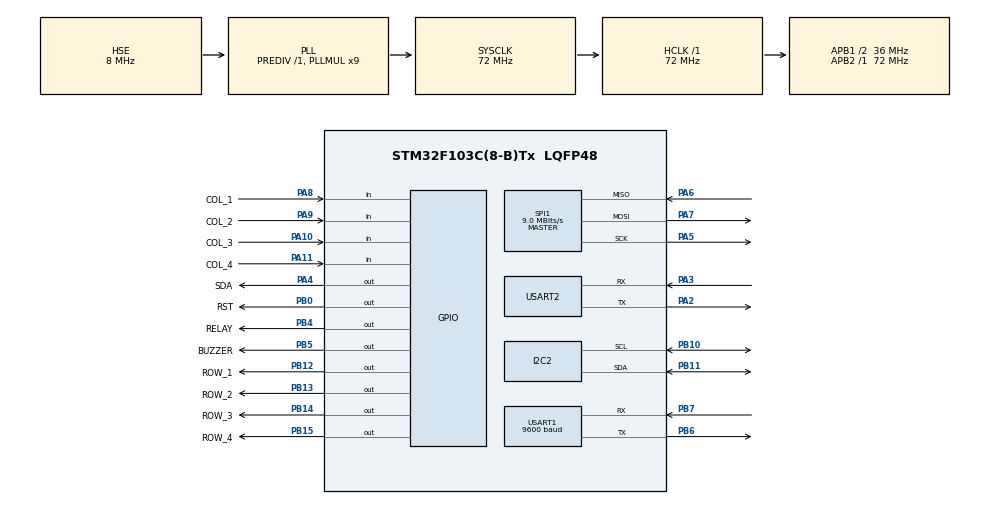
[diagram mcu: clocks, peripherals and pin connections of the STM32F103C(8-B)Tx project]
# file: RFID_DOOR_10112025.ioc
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Mcu.Family=STM32F1
Mcu.Name=STM32F103C(8-B)Tx
Mcu.Package=LQFP48
NVIC.PriorityGroup=NVIC_PRIORITYGROUP_4
PA10.GPIO_Label=COL_3
PA10.GPIO_PuPd=GPIO_PULLUP
PA10.Signal=GPIO_Input
PA11.GPIO_Label=COL_4
PA11.GPIO_PuPd=GPIO_PULLUP
PA11.Signal=GPIO_Input
PA13.Mode=Serial_Wire
PA13.Signal=SYS_JTMS-SWDIO
PA14.Mode=Serial_Wire
PA14.Signal=SYS_JTCK-SWCLK
PA2.Mode=Asynchronous
PA2.Signal=USART2_TX
PA3.Mode=Asynchronous
PA3.Signal=USART2_RX
PA4.GPIO_Label=SDA
PA4.Signal=GPIO_Output
PA5.Mode=Full_Duplex_Master
PA5.Signal=SPI1_SCK
PA6.Mode=Full_Duplex_Master
PA6.Signal=SPI1_MISO
PA7.Mode=Full_Duplex_Master
PA7.Signal=SPI1_MOSI
PA8.GPIO_Label=COL_1
PA8.GPIO_PuPd=GPIO_PULLUP
PA8.Signal=GPIO_Input
PA9.GPIO_Label=COL_2
PA9.GPIO_PuPd=GPIO_PULLUP
PA9.Signal=GPIO_Input
PB0.GPIO_Label=RST
PB0.Signal=GPIO_Output
PB10.Mode=I2C
PB10.Signal=I2C2_SCL
PB11.Mode=I2C
PB11.Signal=I2C2_SDA
PB12.GPIO_Label=ROW_1
PB12.Signal=GPIO_Output
PB13.GPIO_Label=ROW_2
PB13.Signal=GPIO_Output
PB14.GPIO_Label=ROW_3
PB14.Signal=GPIO_Output
PB15.GPIO_Label=ROW_4
PB15.Signal=GPIO_Output
PB4.GPIO_Label=RELAY
PB4.Signal=GPIO_Output
PB5.GPIO_Label=BUZZER
PB5.Signal=GPIO_Output
PB6.Mode=Asynchronous
PB6.Signal=USART1_TX
PB7.Mode=Asynchronous
PB7.Signal=USART1_RX
PD0-OSC_IN.Mode=HSE-External-Oscillator
PD0-OSC_IN.Signal=RCC_OSC_IN
PD1-OSC_OUT.Mode=HSE-External-Oscillator
PD1-OSC_OUT.Signal=RCC_OSC_OUT
ProjectManager.HeapSize=0x200
ProjectManager.StackSize=0x400
ProjectManager.TargetToolchain=STM32CubeIDE
RCC.AHBFreq_Value=72000000
RCC.APB1CLKDivider=RCC_HCLK_DIV2
RCC.APB1Freq_Value=36000000
RCC.APB1TimFreq_Value=72000000
RCC.APB2Freq_Value=72000000
RCC.APB2TimFreq_Value=72000000
RCC.HCLKFreq_Value=72000000
RCC.PLLMUL=RCC_PLL_MUL9
RCC.PLLSourceVirtual=RCC_PLLSOURCE_HSE
RCC.SYSCLKFreq_VALUE=72000000
RCC.SYSCLKSource=RCC_SYSCLKSOURCE_PLLCLK
RCC.USBFreq_Value=72000000
SPI1.BaudRatePrescaler=SPI_BAUDRATEPRESCALER_8
SPI1.CalculateBaudRate=9.0 MBits/s
SPI1.Direction=SPI_DIRECTION_2LINES
SPI1.Mode=SPI_MODE_MASTER
SPI1.VirtualType=VM_MASTER
USART1.BaudRate=9600
USART1.VirtualMode=VM_ASYNC
USART2.VirtualMode=VM_ASYNC
board=custom

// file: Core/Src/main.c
/* USER CODE BEGIN Header */
/**
  ******************************************************************************
  * @file           : main.c
  * @brief          : Main program body
  ******************************************************************************
  * @attention
  *
  * Copyright (c) 2025 STMicroelectronics.
  * All rights reserved.
  *
  * This software is licensed under terms that can be found in the LICENSE file
  * in the root directory of this software component.
  * If no LICENSE file comes with this software, it is provided AS-IS.
  *
  ******************************************************************************
  */
/* USER CODE END Header */
#include "main.h"

/* USER CODE BEGIN Includes */
#include "rc522.h"
#include "string.h"
#include "lcd.h"
#include "DFPlayer_Mini.h"
#include "keypad.h"
/* USER CODE END Includes */

/* USER CODE BEGIN PTD */
typedef enum {
    STATE_IDLE,                 // Trạng thái chờ, quét thẻ VÀ bàn phím
    STATE_ENTERING_PASSWORD,    // Trạng thái đang nhập mật khẩu
    STATE_CARD_ACCESS_GRANTED,  // Trạng thái thẻ đúng
    STATE_CARD_ACCESS_DENIED,   // Trạng thái thẻ sai
    STATE_PASS_ACCESS_GRANTED,  // Trạng thái mật khẩu đúng
    STATE_PASS_ACCESS_DENIED    // Trạng thái mật khẩu sai
} SystemState;
/* USER CODE END PTD */

/* USER CODE BEGIN PD */
#define CARD_ACCESS_DURATION    5000 // Thời gian mở cửa bằng thẻ: 5s
#define CARD_DENIED_DURATION    3000 // Thời gian báo lỗi thẻ: 3s
#define PASS_ACCESS_DURATION    4000 // Thời gian mở cửa bằng pass: 4s
#define PASS_DENIED_DURATION    3000 // Thời gian báo lỗi pass: 3s
#define PASSWORD_LENGTH         5    // Độ dài mật khẩu
/* USER CODE END PD */

I2C_HandleTypeDef hi2c2;

SPI_HandleTypeDef hspi1;

UART_HandleTypeDef huart1;
UART_HandleTypeDef huart2;

/* USER CODE BEGIN PV */
uint8_t status;
uint8_t str[MAX_LEN]; // Max_LEN = 16
uint8_t sNum[4];
uint8_t masterCardUID[4] = {4, 123, 253, 113};

volatile SystemState currentState = STATE_IDLE;
uint32_t actionTimer = 0;

const char correctPassword[PASSWORD_LENGTH + 1] = "12345"; // Mật khẩu đúng + ký tự null
char enteredPassword[PASSWORD_LENGTH + 1];
uint8_t passwordIndex = 0;
/* USER CODE END PV */

void SystemClock_Config(void);
static void MX_GPIO_Init(void);
static void MX_SPI1_Init(void);
static void MX_I2C2_Init(void);
static void MX_USART1_UART_Init(void);
static void MX_USART2_UART_Init(void);
/* USER CODE BEGIN PFP */
void display_welcome_screen(void);
void reset_password_entry(void);
/* USER CODE END PFP */

/* USER CODE BEGIN 0 */
void display_welcome_screen(void) {
    lcd_clear();
    lcd_put_cur(0, 0);
    lcd_send_string("Quet the hoac");
    lcd_put_cur(1, 0);
    lcd_send_string("nhap mat khau");
}

void reset_password_entry(void) {
    passwordIndex = 0;
    memset(enteredPassword, 0, sizeof(enteredPassword));
}
/* USER CODE END 0 */

int main(void)
{

  /* MCU Configuration--------------------------------------------------------*/

  /* Reset of all peripherals, Initializes the Flash interface and the Systick. */
  HAL_Init();

  /* Configure the system clock */
  SystemClock_Config();

  /* Initialize all configured peripherals */
  MX_GPIO_Init();
  MX_SPI1_Init();
  MX_I2C2_Init();
  MX_USART1_UART_Init();
  MX_USART2_UART_Init();
  /* USER CODE BEGIN 2 */
  MFRC522_Init();
  lcd_init();
  DF_Init(&huart1);

  HAL_Delay(200); // Chờ một chút để module sẵn sàng
  DF_SetVolume(25); // Đặt âm lượng (từ 0 đến 30)

  display_welcome_screen();
  /* USER CODE END 2 */

  /* Infinite loop */
  while (1)
  {

    /* USER CODE BEGIN 3 */
//	switch(currentState)
//	{
//		case STATE_IDLE_SCANNING:
//		{
//			// Chỉ quét thẻ khi hệ thống đang ở trạng thái chờ
//			if (MFRC522_Request(PICC_REQIDL, str) == MI_OK)
//			{
//				if (MFRC522_Anticoll(str) == MI_OK)
//				{
//					memcpy(sNum, str, 4);
//					if (memcmp(sNum, masterCardUID, 4) == 0)
//					{
//						// === THẺ ĐÚNG ===
//						// 1. Chuyển sang trạng thái Mở cửa
//						currentState = STATE_ACCESS_GRANTED;
//						// 2. Ghi lại mốc thời gian bắt đầu
//						actionTimer = HAL_GetTick();
//
//						// 3. Thực hiện hành động MỞ CỬA ngay lập tức
//						lcd_clear();
//						lcd_put_cur(0, 0);
//						lcd_send_string("The dung,");
//						lcd_put_cur(1, 2);
//						lcd_send_string("xin moi vao");
//						HAL_GPIO_WritePin(RELAY_GPIO_Port, RELAY_Pin, GPIO_PIN_SET); // Bật Relay
//					}
//					else
//					{
//						// === THẺ SAI ===
//						// 1. Chuyển sang trạng thái Báo lỗi
//						currentState = STATE_ACCESS_DENIED;
//						// 2. Ghi lại mốc thời gian bắt đầu
//						actionTimer = HAL_GetTick();
//
//						// 3. Hiển thị thông báo lỗi
//						lcd_clear();
//						lcd_put_cur(0, 4);
//						lcd_send_string("The sai!");
//					}
//				}
//			}
//			break;
//		}
//
//		case STATE_ACCESS_GRANTED:
//		{
//			// Liên tục kiểm tra xem đã đủ 3 giây chưa
//			if (HAL_GetTick() - actionTimer >= ACCESS_GRANTED_DURATION)
//			{
//				// Đã đủ 3 giây, thực hiện hành động ĐÓNG CỬA
//				HAL_GPIO_WritePin(RELAY_GPIO_Port, RELAY_Pin, GPIO_PIN_RESET); // Tắt Relay
//				display_welcome_screen(); // Hiển thị lại màn hình chờ
//				currentState = STATE_IDLE_SCANNING; // Quay về trạng thái chờ
//			}
//			break;
//		}
//
//		case STATE_ACCESS_DENIED:
//		{
//			// Liên tục kiểm tra xem đã đủ 2 giây hiển thị lỗi chưa
//			if (HAL_GetTick() - actionTimer >= ACCESS_DENIED_DURATION)
//			{
//				// Đã đủ thời gian, quay về trạng thái chờ
//				display_welcome_screen();
//				currentState = STATE_IDLE_SCANNING;
//			}
//			break;
//		}
//	} // end switch

//		switch(currentState)
//		{
//			case STATE_IDLE_SCANNING:
//			{
//				if (MFRC522_Request(PICC_REQIDL, str) == MI_OK)
//				{
//					if (MFRC522_Anticoll(str) == MI_OK)
//					{
//						memcpy(sNum, str, 4);
//						if (memcmp(sNum, masterCardUID, 4) == 0)
//						{
//							// === THẺ ĐÚNG ===
//							currentState = STATE_ACCESS_GRANTED;
//							actionTimer = HAL_GetTick();
//
//							lcd_clear();
//							lcd_put_cur(0, 0);
//							lcd_send_string("The dung,");
//							lcd_put_cur(1, 2);
//							lcd_send_string("xin moi vao");
//							HAL_GPIO_WritePin(RELAY_GPIO_Port, RELAY_Pin, GPIO_PIN_SET);
//							DF_Play(1); // <-- PHÁT FILE 0001.mp3
//						}
//						else
//						{
//							// === THẺ SAI ===
//							currentState = STATE_ACCESS_DENIED;
//							actionTimer = HAL_GetTick();
//
//							lcd_clear();
//							lcd_put_cur(0, 4);
//							lcd_send_string("The sai!");
//							DF_Play(2); // <-- PHÁT FILE 0002.mp3
//						}
//					}
//				}
//				break;
//			}
//
//			case STATE_ACCESS_GRANTED:
//			{
//				if (HAL_GetTick() - actionTimer >= ACCESS_GRANTED_DURATION)
//				{
//					HAL_GPIO_WritePin(RELAY_GPIO_Port, RELAY_Pin, GPIO_PIN_RESET);
//					display_welcome_screen();
//					currentState = STATE_IDLE_SCANNING;
//				}
//				break;
//			}
//
//			case STATE_ACCESS_DENIED:
//			{
//				if (HAL_GetTick() - actionTimer >= ACCESS_DENIED_DURATION)
//				{
//					display_welcome_screen();
//					currentState = STATE_IDLE_SCANNING;
//				}
//				break;
//			}
//		} // end switch
//
//  }

	  switch(currentState)
	  	{
	  		case STATE_IDLE:
	  		{
	  			// ---- Ưu tiên 1: Quét thẻ ----
	  			if (MFRC522_Request(PICC_REQIDL, str) == MI_OK)
	  			{
	  				if (MFRC522_Anticoll(str) == MI_OK)
	  				{
	  					// Kêu bíp báo hiệu nhận thẻ
	  					HAL_GPIO_WritePin(BUZZER_GPIO_Port, BUZZER_Pin, GPIO_PIN_SET); HAL_Delay(50);
	  					HAL_GPIO_WritePin(BUZZER_GPIO_Port, BUZZER_Pin, GPIO_PIN_RESET);

	  					memcpy(sNum, str, 4);
	  					if (memcmp(sNum, masterCardUID, 4) == 0)
	  					{
	  						currentState = STATE_CARD_ACCESS_GRANTED;
	  						actionTimer = HAL_GetTick();
	  						lcd_clear();
	  						lcd_put_cur(0, 0); lcd_send_string("The dung,");
	  						lcd_put_cur(1, 2); lcd_send_string("xin moi vao");
	  						HAL_GPIO_WritePin(RELAY_GPIO_Port, RELAY_Pin, GPIO_PIN_SET);
	  						DF_Play(1); // Phát âm thanh thẻ đúng
	  					}
	  					else
	  					{
	  						currentState = STATE_CARD_ACCESS_DENIED;
	  						actionTimer = HAL_GetTick();
	  						lcd_clear();
	  						lcd_put_cur(0, 4); lcd_send_string("The sai!");
	  						DF_Play(2); // Phát âm thanh thẻ sai
	  					}
	  				}
	  			}

	  			// ---- Ưu tiên 2: Quét bàn phím ----
	  			char key = Keypad_Get_Pressed_Key();
	  			if (key != '\0') // Nếu có phím được nhấn
	  			{
	  				// Kêu bíp báo hiệu nhấn phím
	  				HAL_GPIO_WritePin(BUZZER_GPIO_Port, BUZZER_Pin, GPIO_PIN_SET); HAL_Delay(50);
	  				HAL_GPIO_WritePin(BUZZER_GPIO_Port, BUZZER_Pin, GPIO_PIN_RESET);

	  				// Nếu là một chữ số thì bắt đầu nhập mật khẩu
	  				if (key >= '0' && key <= '9')
	  				{
	  					currentState = STATE_ENTERING_PASSWORD;
	  					reset_password_entry();
	  					enteredPassword[passwordIndex++] = key;

	  					lcd_clear();
	  					lcd_put_cur(0, 0); lcd_send_string("Mat khau la:");
	  					lcd_put_cur(1, 0); lcd_send_string("*");
	  				}
	  			}
	  			break;
	  		}

	  		case STATE_ENTERING_PASSWORD:
	  		{
	  			// Vô hiệu hóa quét thẻ khi đang nhập pass
	  			char key = Keypad_Get_Pressed_Key();

	  			// Chỉ chấp nhận các phím số
	  			if (key != '\0' && (key >= '0' && key <= '9'))
	  			{
	  				// Kêu bíp báo hiệu nhấn phím
	  				HAL_GPIO_WritePin(BUZZER_GPIO_Port, BUZZER_Pin, GPIO_PIN_SET); HAL_Delay(50);
	  				HAL_GPIO_WritePin(BUZZER_GPIO_Port, BUZZER_Pin, GPIO_PIN_RESET);

	  				if (passwordIndex < PASSWORD_LENGTH)
	  				{
	  					enteredPassword[passwordIndex++] = key;
	  					// Hiển thị '*'
	  					lcd_put_cur(1, passwordIndex - 1);
	  					lcd_send_data('*');
	  				}

	  				// Khi đã đủ 5 ký tự
	  				if (passwordIndex == PASSWORD_LENGTH)
	  				{
	  					if (strcmp(enteredPassword, correctPassword) == 0)
	  					{
	  						currentState = STATE_PASS_ACCESS_GRANTED;
	  						actionTimer = HAL_GetTick();
	  						lcd_clear();
	  						lcd_put_cur(0, 0); lcd_send_string("Mat khau chinh xac");
	  						lcd_put_cur(1, 2); lcd_send_string("Xin moi vao");
	  						HAL_GPIO_WritePin(RELAY_GPIO_Port, RELAY_Pin, GPIO_PIN_SET);
	  						DF_Play(3); // Phát âm thanh pass đúng
	  					}
	  					else
	  					{
	  						currentState = STATE_PASS_ACCESS_DENIED;
	  						actionTimer = HAL_GetTick();
	  						lcd_clear();
	  						lcd_put_cur(0, 0); lcd_send_string("Mat khau sai,");
	  						lcd_put_cur(1, 0); lcd_send_string("xin hay nhap lai");
	  						DF_Play(4); // Phát âm thanh pass sai
	  					}
	  				}
	  			}
	  			break;
	  		}

	  		case STATE_CARD_ACCESS_GRANTED:
	  		{
	  			if (HAL_GetTick() - actionTimer >= CARD_ACCESS_DURATION) {
	  				HAL_GPIO_WritePin(RELAY_GPIO_Port, RELAY_Pin, GPIO_PIN_RESET);
	  				display_welcome_screen();
	  				currentState = STATE_IDLE;
	  			}
	  			break;
	  		}
	  		case STATE_CARD_ACCESS_DENIED:
	  		{
	  			if (HAL_GetTick() - actionTimer >= CARD_DENIED_DURATION) {
	  				display_welcome_screen();
	  				currentState = STATE_IDLE;
	  			}
	  			break;
	  		}
	  		case STATE_PASS_ACCESS_GRANTED:
	  		{
	  			if (HAL_GetTick() - actionTimer >= PASS_ACCESS_DURATION) {
	  				HAL_GPIO_WritePin(RELAY_GPIO_Port, RELAY_Pin, GPIO_PIN_RESET);
	  				display_welcome_screen();
	  				currentState = STATE_IDLE;
	  			}
	  			break;
	  		}
	  		case STATE_PASS_ACCESS_DENIED:
	  		{
	  			if (HAL_GetTick() - actionTimer >= PASS_DENIED_DURATION) {
	  				display_welcome_screen();
	  				currentState = STATE_IDLE;
	  			}
	  			break;
	  		}
	  	} // end switch
  }
  /* USER CODE END 3 */
}

void SystemClock_Config(void)
{
  RCC_OscInitTypeDef RCC_OscInitStruct = {0};
  RCC_ClkInitTypeDef RCC_ClkInitStruct = {0};

  /** Initializes the RCC Oscillators according to the specified parameters
  * in the RCC_OscInitTypeDef structure.
  */
  RCC_OscInitStruct.OscillatorType = RCC_OSCILLATORTYPE_HSE;
  RCC_OscInitStruct.HSEState = RCC_HSE_ON;
  RCC_OscInitStruct.HSEPredivValue = RCC_HSE_PREDIV_DIV1;
  RCC_OscInitStruct.HSIState = RCC_HSI_ON;
  RCC_OscInitStruct.PLL.PLLState = RCC_PLL_ON;
  RCC_OscInitStruct.PLL.PLLSource = RCC_PLLSOURCE_HSE;
  RCC_OscInitStruct.PLL.PLLMUL = RCC_PLL_MUL9;
  if (HAL_RCC_OscConfig(&RCC_OscInitStruct) != HAL_OK)
  {
    Error_Handler();
  }

  /** Initializes the CPU, AHB and APB buses clocks
  */
  RCC_ClkInitStruct.ClockType = RCC_CLOCKTYPE_HCLK|RCC_CLOCKTYPE_SYSCLK
                              |RCC_CLOCKTYPE_PCLK1|RCC_CLOCKTYPE_PCLK2;
  RCC_ClkInitStruct.SYSCLKSource = RCC_SYSCLKSOURCE_PLLCLK;
  RCC_ClkInitStruct.AHBCLKDivider = RCC_SYSCLK_DIV1;
  RCC_ClkInitStruct.APB1CLKDivider = RCC_HCLK_DIV2;
  RCC_ClkInitStruct.APB2CLKDivider = RCC_HCLK_DIV1;

  if (HAL_RCC_ClockConfig(&RCC_ClkInitStruct, FLASH_LATENCY_2) != HAL_OK)
  {
    Error_Handler();
  }
}

static void MX_I2C2_Init(void)
{

  hi2c2.Instance = I2C2;
  hi2c2.Init.ClockSpeed = 100000;
  hi2c2.Init.DutyCycle = I2C_DUTYCYCLE_2;
  hi2c2.Init.OwnAddress1 = 0;
  hi2c2.Init.AddressingMode = I2C_ADDRESSINGMODE_7BIT;
  hi2c2.Init.DualAddressMode = I2C_DUALADDRESS_DISABLE;
  hi2c2.Init.OwnAddress2 = 0;
  hi2c2.Init.GeneralCallMode = I2C_GENERALCALL_DISABLE;
  hi2c2.Init.NoStretchMode = I2C_NOSTRETCH_DISABLE;
  if (HAL_I2C_Init(&hi2c2) != HAL_OK)
  {
    Error_Handler();
  }

}

static void MX_SPI1_Init(void)
{

  /* SPI1 parameter configuration*/
  hspi1.Instance = SPI1;
  hspi1.Init.Mode = SPI_MODE_MASTER;
  hspi1.Init.Direction = SPI_DIRECTION_2LINES;
  hspi1.Init.DataSize = SPI_DATASIZE_8BIT;
  hspi1.Init.CLKPolarity = SPI_POLARITY_LOW;
  hspi1.Init.CLKPhase = SPI_PHASE_1EDGE;
  hspi1.Init.NSS = SPI_NSS_SOFT;
  hspi1.Init.BaudRatePrescaler = SPI_BAUDRATEPRESCALER_8;
  hspi1.Init.FirstBit = SPI_FIRSTBIT_MSB;
  hspi1.Init.TIMode = SPI_TIMODE_DISABLE;
  hspi1.Init.CRCCalculation = SPI_CRCCALCULATION_DISABLE;
  hspi1.Init.CRCPolynomial = 10;
  if (HAL_SPI_Init(&hspi1) != HAL_OK)
  {
    Error_Handler();
  }

}

static void MX_USART1_UART_Init(void)
{

  huart1.Instance = USART1;
  huart1.Init.BaudRate = 9600;
  huart1.Init.WordLength = UART_WORDLENGTH_8B;
  huart1.Init.StopBits = UART_STOPBITS_1;
  huart1.Init.Parity = UART_PARITY_NONE;
  huart1.Init.Mode = UART_MODE_TX_RX;
  huart1.Init.HwFlowCtl = UART_HWCONTROL_NONE;
  huart1.Init.OverSampling = UART_OVERSAMPLING_16;
  if (HAL_UART_Init(&huart1) != HAL_OK)
  {
    Error_Handler();
  }

}

static void MX_USART2_UART_Init(void)
{

  huart2.Instance = USART2;
  huart2.Init.BaudRate = 115200;
  huart2.Init.WordLength = UART_WORDLENGTH_8B;
  huart2.Init.StopBits = UART_STOPBITS_1;
  huart2.Init.Parity = UART_PARITY_NONE;
  huart2.Init.Mode = UART_MODE_TX_RX;
  huart2.Init.HwFlowCtl = UART_HWCONTROL_NONE;
  huart2.Init.OverSampling = UART_OVERSAMPLING_16;
  if (HAL_UART_Init(&huart2) != HAL_OK)
  {
    Error_Handler();
  }

}

static void MX_GPIO_Init(void)
{
  GPIO_InitTypeDef GPIO_InitStruct = {0};

  /* GPIO Ports Clock Enable */
  __HAL_RCC_GPIOD_CLK_ENABLE();
  __HAL_RCC_GPIOA_CLK_ENABLE();
  __HAL_RCC_GPIOB_CLK_ENABLE();

  /*Configure GPIO pin Output Level */
  HAL_GPIO_WritePin(SDA_GPIO_Port, SDA_Pin, GPIO_PIN_RESET);

  /*Configure GPIO pin Output Level */
  HAL_GPIO_WritePin(GPIOB, RST_Pin|ROW_1_Pin|ROW_2_Pin|ROW_3_Pin
                          |ROW_4_Pin|RELAY_Pin|BUZZER_Pin, GPIO_PIN_RESET);

  /*Configure GPIO pin : SDA_Pin */
  GPIO_InitStruct.Pin = SDA_Pin;
  GPIO_InitStruct.Mode = GPIO_MODE_OUTPUT_PP;
  GPIO_InitStruct.Pull = GPIO_NOPULL;
  GPIO_InitStruct.Speed = GPIO_SPEED_FREQ_LOW;
  HAL_GPIO_Init(SDA_GPIO_Port, &GPIO_InitStruct);

  /*Configure GPIO pins : RST_Pin ROW_1_Pin ROW_2_Pin ROW_3_Pin
                           ROW_4_Pin RELAY_Pin BUZZER_Pin */
  GPIO_InitStruct.Pin = RST_Pin|ROW_1_Pin|ROW_2_Pin|ROW_3_Pin
                          |ROW_4_Pin|RELAY_Pin|BUZZER_Pin;
  GPIO_InitStruct.Mode = GPIO_MODE_OUTPUT_PP;
  GPIO_InitStruct.Pull = GPIO_NOPULL;
  GPIO_InitStruct.Speed = GPIO_SPEED_FREQ_LOW;
  HAL_GPIO_Init(GPIOB, &GPIO_InitStruct);

  /*Configure GPIO pins : COL_1_Pin COL_2_Pin COL_3_Pin COL_4_Pin */
  GPIO_InitStruct.Pin = COL_1_Pin|COL_2_Pin|COL_3_Pin|COL_4_Pin;
  GPIO_InitStruct.Mode = GPIO_MODE_INPUT;
  GPIO_InitStruct.Pull = GPIO_PULLUP;
  HAL_GPIO_Init(GPIOA, &GPIO_InitStruct);

}

void Error_Handler(void)
{
  __disable_irq();
  while (1)
  {
  }
}
